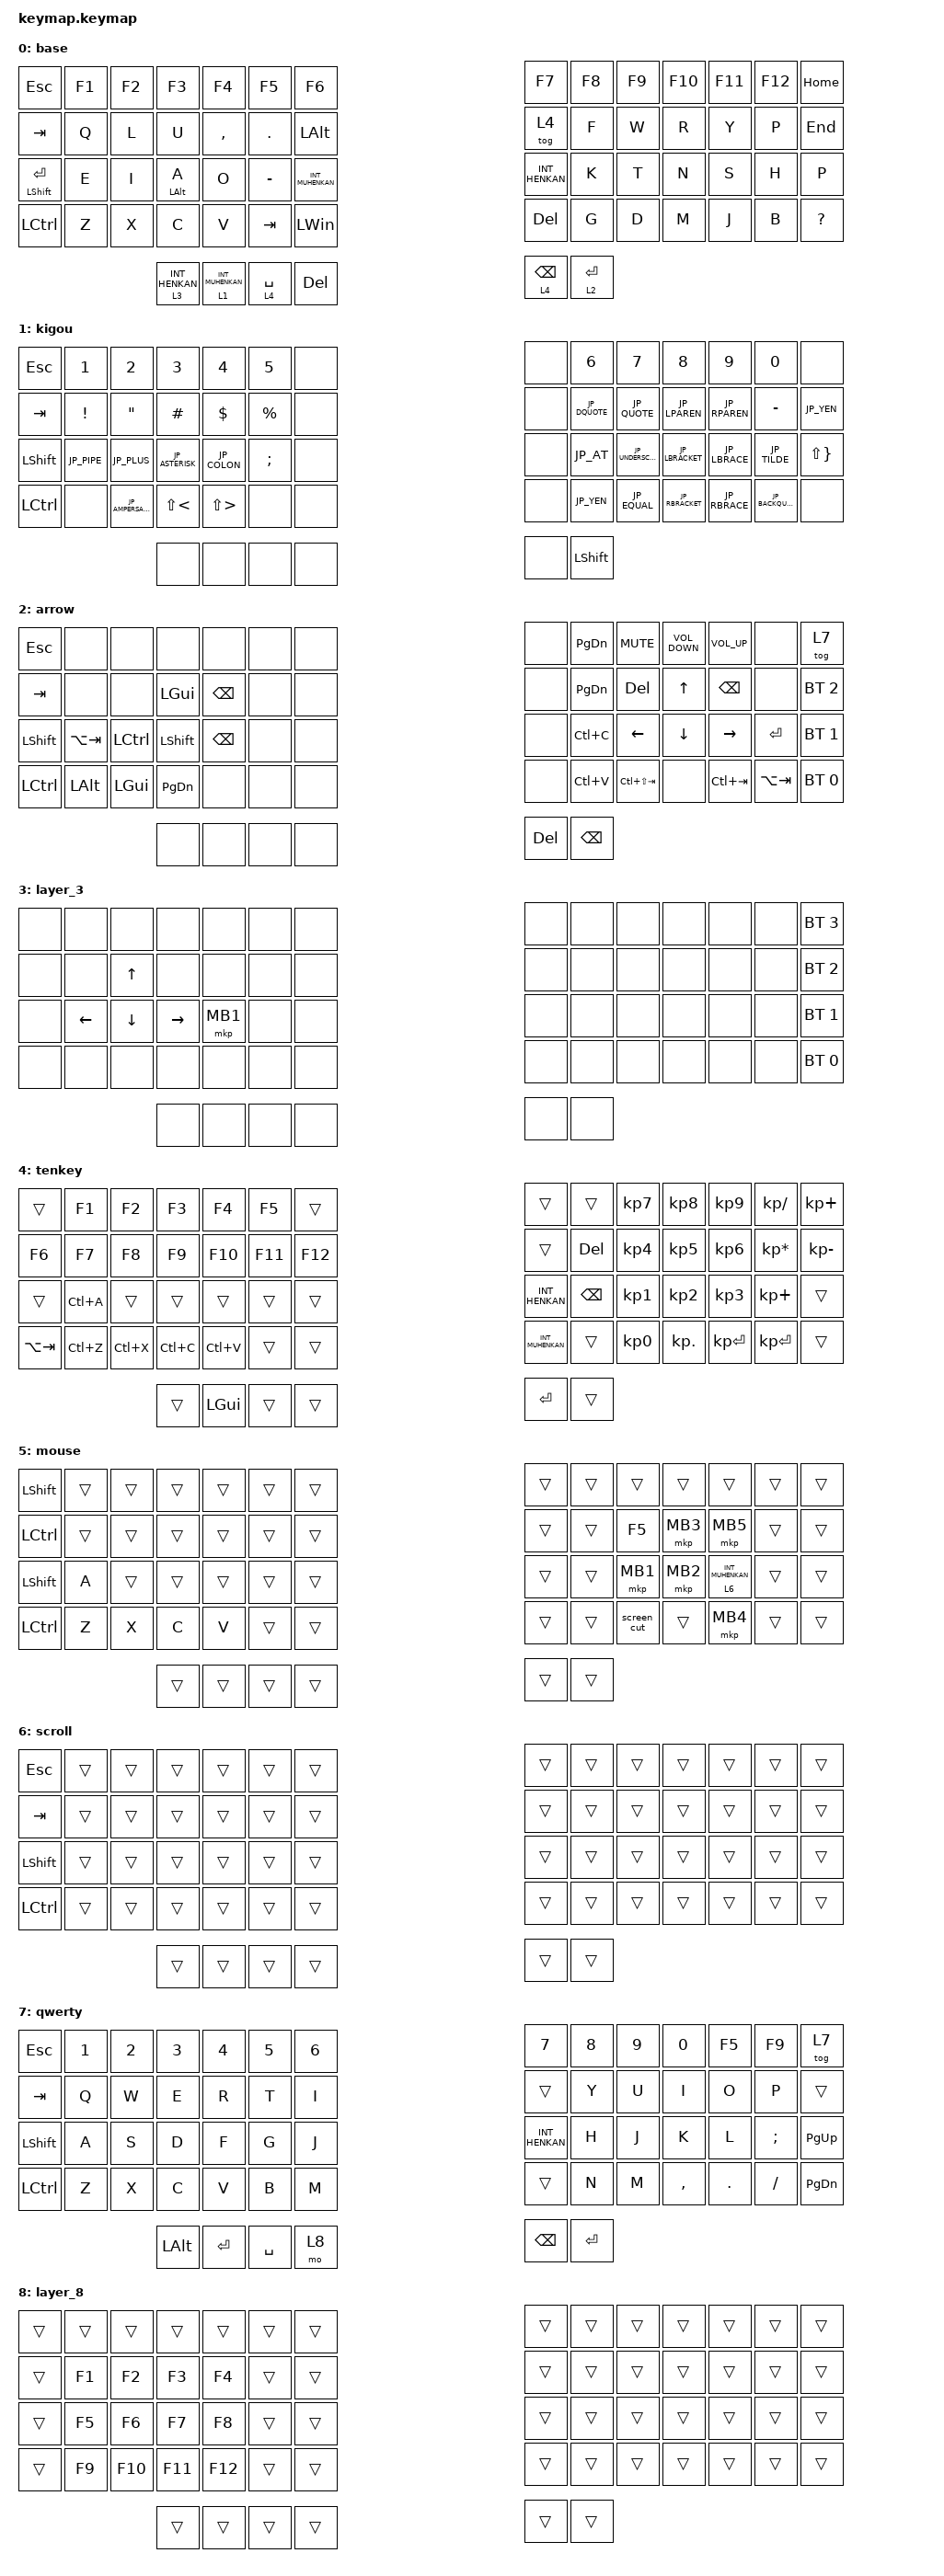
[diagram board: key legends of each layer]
#include <behaviors.dtsi>
#include <dt-bindings/zmk/bt.h>
#include <dt-bindings/zmk/keys.h>
#include <dt-bindings/zmk/pointing.h>
#include <physical_layouts.dtsi>

/ {
    // 
    ortho_4row_physical_layout: ortho_4row_physical_layout {
        compatible = "zmk,physical-layout";
        display-name = "Ortho 4row Layout";
        transform = <&default_transform>;
        kscan = <&kscan0>;
        keys = 
            <&key_physical_attrs 100 100    0   12       0     0    12>
            , <&key_physical_attrs 100 100  100   12       0   100    12>
            , <&key_physical_attrs 100 100  200   12       0   200    12>
            , <&key_physical_attrs 100 100  300   12       0   300    12>
            , <&key_physical_attrs 100 100  400   12       0   400    12>
            , <&key_physical_attrs 100 100  500   12       0   500    12>
            , <&key_physical_attrs 100 100  600   12       0   600    12>
            , <&key_physical_attrs 100 100 1100    0       0  1100     0>
            , <&key_physical_attrs 100 100 1200    0       0  1200     0>
            , <&key_physical_attrs 100 100 1300    0       0  1300     0>
            , <&key_physical_attrs 100 100 1400    0       0  1400     0>
            , <&key_physical_attrs 100 100 1500    0       0  1500     0>
            , <&key_physical_attrs 100 100 1600    0       0  1600     0>
            , <&key_physical_attrs 100 100 1700    0       0  1700     0>
            , <&key_physical_attrs 100 100    0  112       0     0   112>
            , <&key_physical_attrs 100 100  100  112       0   100   112>
            , <&key_physical_attrs 100 100  200  112       0   200   112>
            , <&key_physical_attrs 100 100  300  112       0   300   112>
            , <&key_physical_attrs 100 100  400  112       0   400   112>
            , <&key_physical_attrs 100 100  500  112       0   500   112>
            , <&key_physical_attrs 100 100  600  112       0   600   112>
            , <&key_physical_attrs 100 100 1100  100       0  1100   100>
            , <&key_physical_attrs 100 100 1200  100       0  1200   100>
            , <&key_physical_attrs 100 100 1300  100       0  1300   100>
            , <&key_physical_attrs 100 100 1400  100       0  1400   100>
            , <&key_physical_attrs 100 100 1500  100       0  1500   100>
            , <&key_physical_attrs 100 100 1600  100       0  1600   100>
            , <&key_physical_attrs 100 100 1700  100       0  1700   100>
            , <&key_physical_attrs 100 100    0  212       0     0   212>
            , <&key_physical_attrs 100 100  100  212       0   100   212>
            , <&key_physical_attrs 100 100  200  212       0   200   212>
            , <&key_physical_attrs 100 100  300  212       0   300   212>
            , <&key_physical_attrs 100 100  400  212       0   400   212>
            , <&key_physical_attrs 100 100  500  212       0   500   212>
            , <&key_physical_attrs 100 100  600  212       0   600   212>
            , <&key_physical_attrs 100 100 1100  200       0  1100   200>
            , <&key_physical_attrs 100 100 1200  200       0  1200   200>
            , <&key_physical_attrs 100 100 1300  200       0  1300   200>
            , <&key_physical_attrs 100 100 1400  200       0  1400   200>
            , <&key_physical_attrs 100 100 1500  200       0  1500   200>
            , <&key_physical_attrs 100 100 1600  200       0  1600   200>
            , <&key_physical_attrs 100 100 1700  200       0  1700   200>
            , <&key_physical_attrs 100 100    0  312       0     0   312>
            , <&key_physical_attrs 100 100  100  312       0   100   312>
            , <&key_physical_attrs 100 100  200  312       0   200   312>
            , <&key_physical_attrs 100 100  300  312       0   300   312>
            , <&key_physical_attrs 100 100  400  312       0   400   312>
            , <&key_physical_attrs 100 100  500  312       0   500   312>
            , <&key_physical_attrs 100 100  600  312       0   600   312>
            , <&key_physical_attrs 100 100 1100  300       0  1100   300>
            , <&key_physical_attrs 100 100 1200  300       0  1200   300>
            , <&key_physical_attrs 100 100 1300  300       0  1300   300>
            , <&key_physical_attrs 100 100 1400  300       0  1400   300>
            , <&key_physical_attrs 100 100 1500  300       0  1500   300>
            , <&key_physical_attrs 100 100 1600  300       0  1600   300>
            , <&key_physical_attrs 100 100 1700  300       0  1700   300>
            , <&key_physical_attrs 100 100  300  438       0   300   438>
            , <&key_physical_attrs 100 100  400  438       0   400   438>
            , <&key_physical_attrs 100 100  500  438       0   500   438>
            , <&key_physical_attrs 100 100  600  438       0   600   438>
            , <&key_physical_attrs 100 100 1100  425       0  1100   425>
            , <&key_physical_attrs 100 100 1200  425       0  1200   425>
        ;
    };

    // 
    chosen {
        zmk,kscan = &kscan0;
        zmk,physical-layout = &ortho_4row_physical_layout;
        // 注意: zmk,matrix-transform は使わない
    };

    // 
    macros {
        screen_cut: screen_cut {
            compatible = "zmk,behavior-macro";
            #binding-cells = <0>;
            bindings = <&kp LC(LA(LWIN)) &kp PAGE_DOWN>;
            label = "SCREEN_CUT";
        };
    };

    keymap {
        compatible = "zmk,keymap";
        // 以下、あなたの base, kigou, arrow, ... はそのまま
            base {
            bindings = <
&kp ESC               &kp F1  &kp F2  &kp F3            &kp F4              &kp F5       &kp F6            &kp F7           &kp F8       &kp F9  &kp F10  &kp F11  &kp F12  &kp HOME
&kp TAB               &kp Q   &kp L   &kp U             &kp COMMA           &kp PERIOD   &kp LALT          &tog 4           &kp F        &kp W   &kp R    &kp Y    &kp P    &kp END
&mt LEFT_SHIFT ENTER  &kp E   &kp I   &mt LEFT_ALT A    &kp O               &kp MINUS    &kp INT_MUHENKAN  &kp INT_HENKAN   &kp K        &kp T   &kp N    &kp S    &kp H    &kp P
&kp LCTRL             &kp Z   &kp X   &kp C             &kp V               &kp TAB      &kp LEFT_WIN      &kp DELETE       &kp G        &kp D   &kp M    &kp J    &kp B    &kp QUESTION
                                      &lt 3 INT_HENKAN  &lt 1 INT_MUHENKAN  &lt 4 SPACE  &kp DELETE        &lt 4 BACKSPACE  &lt 2 ENTER
            >;
        };

        kigou {
            bindings = <
&kp ESC    &kp N1           &kp N2             &kp N3           &kp N4                &kp N5       &none  &none  &kp N6         &kp N7             &kp N8           &kp N9         &kp N0            &none
&kp TAB    &kp EXCLAMATION  &kp DOUBLE_QUOTES  &kp POUND        &kp DOLLAR            &kp PERCENT  &none  &none  &kp JP_DQUOTE  &kp JP_QUOTE       &kp JP_LPAREN    &kp JP_RPAREN  &kp MINUS         &kp JP_YEN
&kp LSHFT  &kp JP_PIPE      &kp JP_PLUS        &kp JP_ASTERISK  &kp JP_COLON          &kp SEMI     &none  &none  &kp JP_AT      &kp JP_UNDERSCORE  &kp JP_LBRACKET  &kp JP_LBRACE  &kp JP_TILDE      &kp LS(RBRC)
&kp LCTRL  &none            &kp JP_AMPERSAND   &kp LS(LT)       &kp LS(GREATER_THAN)  &none        &none  &none  &kp JP_YEN     &kp JP_EQUAL       &kp JP_RBRACKET  &kp JP_RBRACE  &kp JP_BACKQUOTE  &none
                                               &none            &none                 &none        &none  &none  &kp LSHFT
            >;
        };

        arrow {
            bindings = <
&kp ESC    &none        &none      &none          &none     &none  &none  &none    &kp PAGE_DOWN  &kp K_MUTE       &kp C_VOLUME_DOWN  &kp C_VOLUME_UP  &none        &tog 7
&kp TAB    &none        &none      &kp LGUI       &kp BSPC  &none  &none  &none    &kp PAGE_DOWN  &kp DEL          &kp UP_ARROW       &kp BSPC         &none        &bt BT_SEL 2
&kp LSHFT  &kp LA(TAB)  &kp LCTRL  &kp LSHFT      &kp BSPC  &none  &none  &none    &kp LC(C)      &kp LEFT         &kp DOWN           &kp RIGHT        &kp ENTER    &bt BT_SEL 1
&kp LCTRL  &kp LALT     &kp LGUI   &kp PAGE_DOWN  &none     &none  &none  &none    &kp LC(V)      &kp LC(LS(TAB))  &none              &kp LC(TAB)      &kp LA(TAB)  &bt BT_SEL 0
                                   &none          &none     &none  &none  &kp DEL  &kp BSPC
            >;
        };

        layer_3 {
            bindings = <
&none  &none     &none         &none      &none     &none  &none  &none  &none  &none  &none  &none  &none  &bt BT_SEL 3
&none  &none     &kp UP_ARROW  &none      &none     &none  &none  &none  &none  &none  &none  &none  &none  &bt BT_SEL 2
&none  &kp LEFT  &kp DOWN      &kp RIGHT  &mkp MB1  &none  &none  &none  &none  &none  &none  &none  &none  &bt BT_SEL 1
&none  &none     &none         &none      &none     &none  &none  &none  &none  &none  &none  &none  &none  &bt BT_SEL 0
                               &none      &none     &none  &none  &none  &none
            >;
        };

        tenkey {
            bindings = <
&trans       &kp F1     &kp F2     &kp F3     &kp F4     &kp F5   &trans   &trans            &trans         &kp KP_NUMBER_7  &kp KP_NUMBER_8  &kp KP_NUMBER_9  &kp KP_SLASH     &kp KP_PLUS
&kp F6       &kp F7     &kp F8     &kp F9     &kp F10    &kp F11  &kp F12  &trans            &kp DELETE     &kp KP_NUMBER_4  &kp KP_NUMBER_5  &kp KP_NUMBER_6  &kp KP_MULTIPLY  &kp KP_MINUS
&trans       &kp LC(A)  &trans     &trans     &trans     &trans   &trans   &kp INT_HENKAN    &kp BACKSPACE  &kp KP_NUMBER_1  &kp KP_NUMBER_2  &kp KP_NUMBER_3  &kp KP_PLUS      &trans
&kp LA(TAB)  &kp LC(Z)  &kp LC(X)  &kp LC(C)  &kp LC(V)  &trans   &trans   &kp INT_MUHENKAN  &trans         &kp KP_NUMBER_0  &kp KP_DOT       &kp KP_ENTER     &kp KP_ENTER     &trans
                                   &trans     &kp LGUI   &trans   &trans   &kp ENTER         &trans
            >;
        };

        mouse {
            bindings = <
&kp LSHFT  &trans  &trans  &trans  &trans  &trans  &trans  &trans  &trans  &trans       &trans    &trans              &trans  &trans
&kp LCTRL  &trans  &trans  &trans  &trans  &trans  &trans  &trans  &trans  &kp F5       &mkp MB3  &mkp MB5            &trans  &trans
&kp LSHFT  &kp A   &trans  &trans  &trans  &trans  &trans  &trans  &trans  &mkp MB1     &mkp MB2  &lt 6 INT_MUHENKAN  &trans  &trans
&kp LCTRL  &kp Z   &kp X   &kp C   &kp V   &trans  &trans  &trans  &trans  &screen_cut  &trans    &mkp MB4            &trans  &trans
                           &trans  &trans  &trans  &trans  &trans  &trans
            >;
        };

        scroll {
            bindings = <
&kp ESC    &trans  &trans  &trans  &trans  &trans  &trans  &trans  &trans  &trans  &trans  &trans  &trans  &trans
&kp TAB    &trans  &trans  &trans  &trans  &trans  &trans  &trans  &trans  &trans  &trans  &trans  &trans  &trans
&kp LSHFT  &trans  &trans  &trans  &trans  &trans  &trans  &trans  &trans  &trans  &trans  &trans  &trans  &trans
&kp LCTRL  &trans  &trans  &trans  &trans  &trans  &trans  &trans  &trans  &trans  &trans  &trans  &trans  &trans
                           &trans  &trans  &trans  &trans  &trans  &trans
            >;
        };

        qwerty {
            bindings = <
&kp ESC    &kp N1  &kp N2  &kp N3        &kp N4     &kp N5     &kp N6  &kp N7          &kp N8     &kp N9  &kp N0     &kp F5   &kp F9    &tog 7
&kp TAB    &kp Q   &kp W   &kp E         &kp R      &kp T      &kp I   &trans          &kp Y      &kp U   &kp I      &kp O    &kp P     &trans
&kp LSHFT  &kp A   &kp S   &kp D         &kp F      &kp G      &kp J   &kp INT_HENKAN  &kp H      &kp J   &kp K      &kp L    &kp SEMI  &kp PAGE_UP
&kp LCTRL  &kp Z   &kp X   &kp C         &kp V      &kp B      &kp M   &trans          &kp N      &kp M   &kp COMMA  &kp DOT  &kp FSLH  &kp PAGE_DOWN
                           &kp LEFT_ALT  &kp ENTER  &kp SPACE  &mo 8   &kp BACKSPACE   &kp ENTER
            >;
        };

        layer_8 {
            bindings = <
&trans  &trans  &trans   &trans   &trans   &trans  &trans  &trans  &trans  &trans  &trans  &trans  &trans  &trans
&trans  &kp F1  &kp F2   &kp F3   &kp F4   &trans  &trans  &trans  &trans  &trans  &trans  &trans  &trans  &trans
&trans  &kp F5  &kp F6   &kp F7   &kp F8   &trans  &trans  &trans  &trans  &trans  &trans  &trans  &trans  &trans
&trans  &kp F9  &kp F10  &kp F11  &kp F12  &trans  &trans  &trans  &trans  &trans  &trans  &trans  &trans  &trans
                         &trans   &trans   &trans  &trans  &trans  &trans
        >;
    };
};
